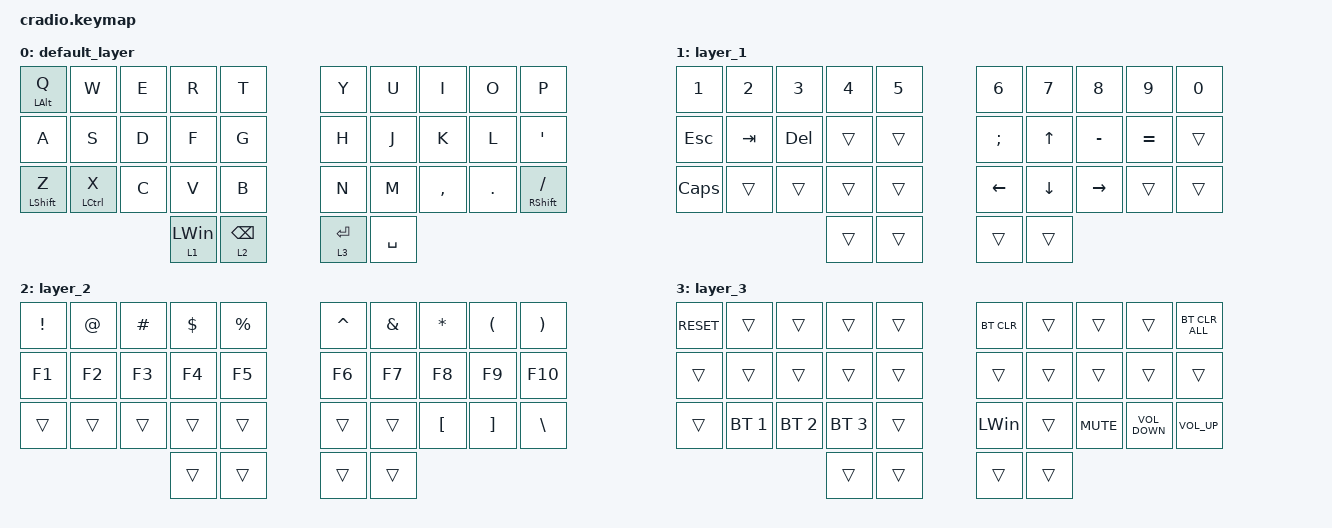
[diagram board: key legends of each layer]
// Copyright (c) 2022 The ZMK Contributors
// SPDX-License-Identifier: MIT

#include <behaviors.dtsi>
#include <dt-bindings/zmk/bt.h>
#include <dt-bindings/zmk/keys.h>

/ {
    combos { compatible = "zmk,combos"; };

    keymap {
        compatible = "zmk,keymap";

        default_layer {
            bindings = <
&mt LEFT_ALT Q    &kp W        &kp E  &kp R           &kp T              &kp Y        &kp U      &kp I      &kp O    &kp P
&kp A             &kp S        &kp D  &kp F           &kp G              &kp H        &kp J      &kp K      &kp L    &kp SQT
&mt LEFT_SHIFT Z  &mt LCTRL X  &kp C  &kp V           &kp B              &kp N        &kp M      &kp COMMA  &kp DOT  &mt RIGHT_SHIFT SLASH
                                      &lt 1 LEFT_WIN  &lt 2 BACKSPACE    &lt 3 ENTER  &kp SPACE
            >;
        };

        layer_1 {
            bindings = <
&kp NUMBER_1  &kp NUMBER_2  &kp NUMBER_3  &kp NUMBER_4  &kp N5    &kp NUMBER_6   &kp N7        &kp N8     &kp N9     &kp N0
&kp ESCAPE    &kp TAB       &kp DEL       &trans        &trans    &kp SEMICOLON  &kp UP_ARROW  &kp MINUS  &kp EQUAL  &trans
&kp CAPS      &trans        &trans        &trans        &trans    &kp LEFT       &kp DOWN      &kp RIGHT  &trans     &trans
                                          &trans        &trans    &trans         &trans
            >;
        };

        layer_2 {
            bindings = <
&kp EXCLAMATION  &kp AT_SIGN  &kp HASH  &kp DOLLAR  &kp PERCENT    &kp CARET  &kp AMPERSAND  &kp ASTERISK      &kp LEFT_PARENTHESIS  &kp RIGHT_PARENTHESIS
&kp F1           &kp F2       &kp F3    &kp F4      &kp F5         &kp F6     &kp F7         &kp F8            &kp F9                &kp F10
&trans           &trans       &trans    &trans      &trans         &trans     &trans         &kp LEFT_BRACKET  &kp RIGHT_BRACKET     &kp BACKSLASH
                                        &trans      &trans         &trans     &trans
            >;
        };

        layer_3 {
            bindings = <
&kp C_RESET  &trans        &trans        &trans        &trans    &bt BT_CLR  &trans  &trans      &trans             &bt BT_CLR_ALL
&trans       &trans        &trans        &trans        &trans    &trans      &trans  &trans      &trans             &trans
&trans       &bt BT_SEL 1  &bt BT_SEL 2  &bt BT_SEL 3  &trans    &kp LWIN    &trans  &kp C_MUTE  &kp C_VOLUME_DOWN  &kp C_VOLUME_UP
                                         &trans        &trans    &trans      &trans
            >;
        };
    };
};
